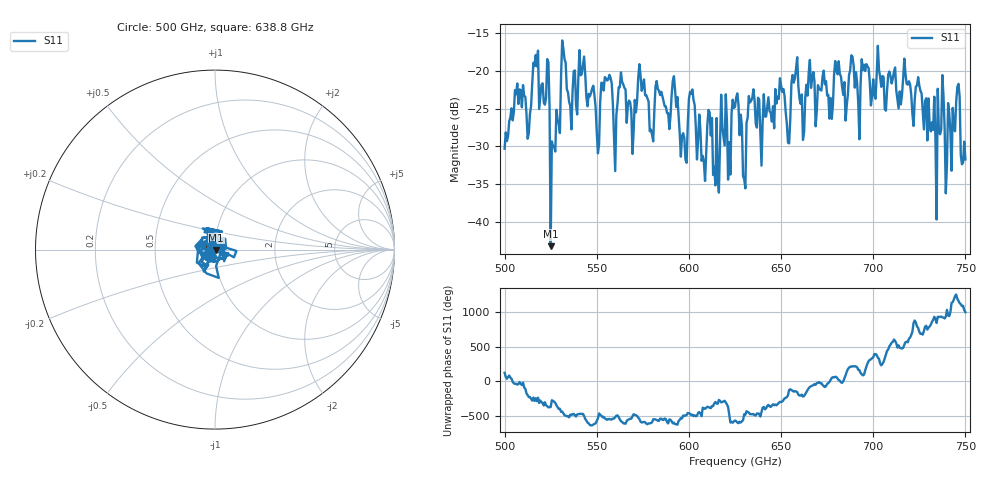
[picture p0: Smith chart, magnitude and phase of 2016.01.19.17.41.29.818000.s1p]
!Created with skrf (http://scikit-rf.org).
# GHz S RI R 50.0
!freq ReS11 ImS11
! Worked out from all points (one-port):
!   401 points, 500 GHz to 750 GHz, reference 50 ohm
!   lowest |S11| = -43.3 dB at 525 GHz (marker M1), VSWR 1.01, Z = 50.7 - j0.204 ohm
!   |S11| at or under -10 dB: start of sweep to end of sweep
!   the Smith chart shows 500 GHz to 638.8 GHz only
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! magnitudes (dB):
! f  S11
! 500 GHz  -30.3
! 506.9 GHz  -21.7
! 513.1 GHz  -28.3
! 516.9 GHz  -17.9
! 523.1 GHz  -18.4
! 525 GHz  -43.3
! 526.2 GHz  -30.0
! 531.2 GHz  -16.0
! 535.6 GHz  -24.7
! 541.9 GHz  -20.4
! 550.6 GHz  -30.9
! 562.5 GHz  -22.2
! 593.8 GHz  -23.5
! 597.5 GHz  -28.9
! 601.9 GHz  -22.5
! 608.1 GHz  -32.1
! 611.2 GHz  -25.5
! 615 GHz  -26.3
! 625 GHz  -24.8
! 630 GHz  -34.4
! 633.8 GHz  -24.0
! 653.8 GHz  -29.5
! 656.2 GHz  -20.5
! 687.5 GHz  -19.9
! 718.8 GHz  -21.8
! 733.1 GHz  -23.4
! 745.6 GHz  -22.2
! 750 GHz  -31.7
